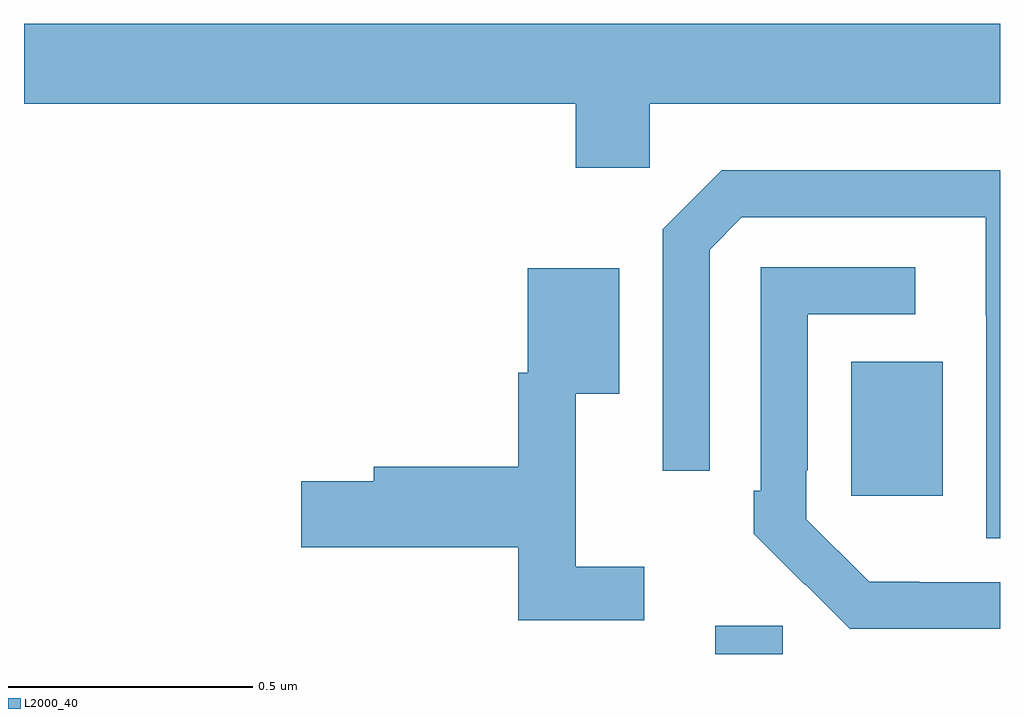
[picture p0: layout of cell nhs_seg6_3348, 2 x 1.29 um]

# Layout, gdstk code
import gdstk
lib = gdstk.Library(unit=1e-6, precision=1e-09)
def R(c, l, rs):  # rectangles x0, y0, x1, y1
    for r in rs: c.add(gdstk.rectangle(r[:2], r[2:], *l))
def P(c, l, *ps):  # polygons
    for p in ps: c.add(gdstk.Polygon(p, *l))
L2000_40 = (2000, 40)

nhs_seg6_3348 = lib.new_cell('nhs_seg6_3348')
R(nhs_seg6_3348, L2000_40, [(156.416,987.5,156.555,987.558), (156.695,987.825,156.883,988.099)])
P(nhs_seg6_3348, L2000_40, [(156.282,988.628),(157,988.628),(157,988.792),(155,988.792),(155,988.628),(156.131,988.628),(156.131,988.497),(156.282,988.497)],
  [(157,988.492),(156.43,988.492),(156.309,988.371),(156.309,987.876),(156.405,987.876),(156.405,988.329),(156.471,988.395),(156.971,988.395),(156.971,988.195),(156.972,988.195),(156.972,987.738),(157,987.738)],
  [(157,987.648),(156.835,987.648),(156.835,987.649),(156.732,987.649),(156.603,987.777),(156.603,987.877),(156.606,987.877),(156.606,988.197),(156.826,988.197),(156.826,988.293),(156.51,988.293),(156.51,987.835),(156.495,987.835),(156.495,987.747),(156.6,987.642),(156.601,987.643),(156.692,987.552),(157,987.552)],
  [(156.271,987.679),(156.131,987.679),(156.131,988.034),(156.22,988.034),(156.22,988.291),(156.032,988.291),(156.032,988.077),(156.013,988.077),(156.013,987.884),(155.717,987.884),(155.717,987.854),(155.568,987.854),(155.568,987.719),(156.013,987.719),(156.013,987.57),(156.271,987.57)])

lib.write_gds('nhs_seg6_3348.gds')
